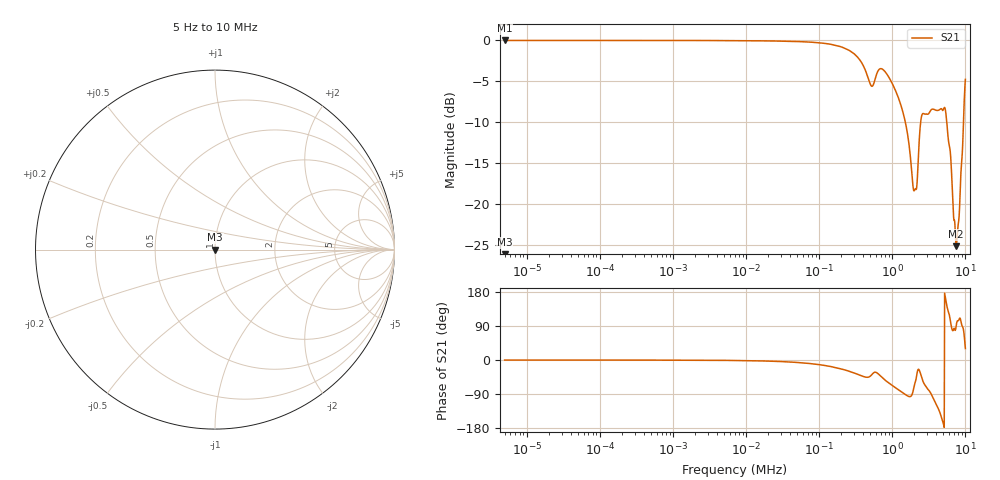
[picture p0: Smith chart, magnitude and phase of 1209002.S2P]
!Agilent Technologies,E5061B,MY49204007,A.02.12
!Date: Fri Sep 12 10:24:01 2025
!Data & Calibration Information:
!Freq	S11:SOLT2(OFF)	S21:SOLT2(OFF)	S12:SOLT2(OFF)	S22:SOLT2(OFF)
# Hz S dB R 50
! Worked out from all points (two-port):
!   1041 points, 5 Hz to 10 MHz, reference 50 ohm
!   highest |S21| = -0.04 dB at 5 Hz (marker M1); lowest = -25.2 dB at 7.477 MHz (marker M2)
!   |S21| within 3 dB of the highest: start of sweep to 397.2 kHz
!   lowest |S11| = - dB at 5 Hz (marker M3), VSWR 1.00, Z = 50 + j0 ohm
!   |S11| at or under -10 dB: start of sweep to end of sweep
!   S12 and S22 are empty: the file has one direction only
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5  -200.00 0.0  -0.04 -0.2  -200.00 0.0  -200.00 0.0
56.522  -200.00 0.0  -0.04 -0.2  -200.00 0.0  -200.00 0.0
632.897  -200.00 0.0  -0.04 -0.3  -200.00 0.0  -200.00 0.0
7154.49  -200.00 0.0  -0.06 -1.2  -200.00 0.0  -200.00 0.0
80111.67  -200.00 0.0  -0.25 -10.0  -200.00 0.0  -200.00 0.0
191954.2  -200.00 0.0  -0.77 -22.6  -200.00 0.0  -200.00 0.0
345853.7  -200.00 0.0  -2.22 -38.7  -200.00 0.0  -200.00 0.0
476696.7  -200.00 0.0  -4.85 -45.0  -200.00 0.0  -200.00 0.0
566091.6  -200.00 0.0  -5.15 -32.8  -200.00 0.0  -200.00 0.0
675229.8  -200.00 0.0  -3.51 -40.4  -200.00 0.0  -200.00 0.0
893075.1  -200.00 0.0  -4.50 -60.5  -200.00 0.0  -200.00 0.0
1403723  -200.00 0.0  -8.86 -87.0  -200.00 0.0  -200.00 0.0
2010257  -200.00 0.0  -18.37 -65.3  -200.00 0.0  -200.00 0.0
2568268  -200.00 0.0  -9.07 -50.8  -200.00 0.0  -200.00 0.0
3591133  -200.00 0.0  -8.43 -98.8  -200.00 0.0  -200.00 0.0
4441770  -200.00 0.0  -8.49 -136.7  -200.00 0.0  -200.00 0.0
5137346  -200.00 0.0  -8.25 -178.0  -200.00 0.0  -200.00 0.0
5860704  -200.00 0.0  -12.25 127.2  -200.00 0.0  -200.00 0.0
7477269  -200.00 0.0  -25.19 89.4  -200.00 0.0  -200.00 0.0
7957789  -200.00 0.0  -22.60 103.6  -200.00 0.0  -200.00 0.0
8918830  -200.00 0.0  -14.69 92.3  -200.00 0.0  -200.00 0.0
1e7  -200.00 0.0  -4.80 30.2  -200.00 0.0  -200.00 0.0
